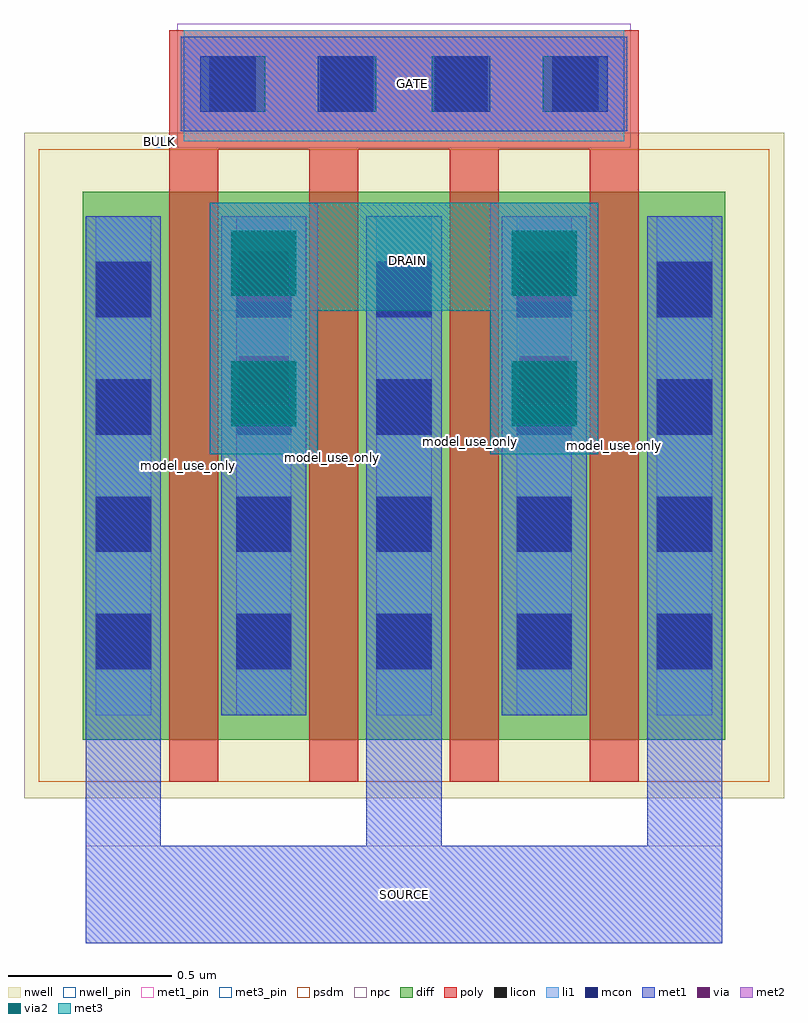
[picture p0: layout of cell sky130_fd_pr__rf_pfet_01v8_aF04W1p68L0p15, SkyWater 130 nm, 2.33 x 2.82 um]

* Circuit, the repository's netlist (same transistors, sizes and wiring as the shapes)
* Copyright 2020 The SkyWater PDK Authors
*
* Licensed under the Apache License, Version 2.0 (the "License");
* you may not use this file except in compliance with the License.
* You may obtain a copy of the License at
*
*     https://www.apache.org/licenses/LICENSE-2.0
*
* Unless required by applicable law or agreed to in writing, software
* distributed under the License is distributed on an "AS IS" BASIS,
* WITHOUT WARRANTIES OR CONDITIONS OF ANY KIND, either express or implied.
* See the License for the specific language governing permissions and
* limitations under the License.
*
* SPDX-License-Identifier: Apache-2.0


.subckt sky130_fd_pr__rf_pfet_01v8_aF04W1p68L0p15 BULK DRAIN GATE SOURCE
X0 SOURCE GATE DRAIN BULK sky130_fd_pr__pfet_01v8 w=1.68e+06u l=150000u
X1 DRAIN GATE SOURCE BULK sky130_fd_pr__pfet_01v8 w=1.68e+06u l=150000u
X2 SOURCE GATE DRAIN BULK sky130_fd_pr__pfet_01v8 w=1.68e+06u l=150000u
X3 DRAIN GATE SOURCE BULK sky130_fd_pr__pfet_01v8 w=1.68e+06u l=150000u
.ends

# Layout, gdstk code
import gdstk
lib = gdstk.Library(unit=1e-6, precision=1e-09)
def R(c, l, rs):  # rectangles x0, y0, x1, y1
    for r in rs: c.add(gdstk.rectangle(r[:2], r[2:], *l))
def A(c, l, x, y, w, h, nx, ny, dx, dy):  # array of equal rectangles
    R(c, l, [(x+i*dx, y+j*dy, x+i*dx+w, y+j*dy+h) for i in range(nx) for j in range(ny)])
nwell_pin = (64, 16)
nwell = (64, 20)
diff = (65, 20)
poly = (66, 20)
licon = (66, 44)
li1 = (67, 20)
mcon = (67, 44)
met1_pin = (68, 16)
met1 = (68, 20)
via = (68, 44)
met2 = (69, 20)
via2 = (69, 44)
met3_pin = (70, 16)
met3 = (70, 20)
psdm = (94, 20)
npc = (95, 20)

sky130_fd_pr__rf_pfet_01 = lib.new_cell('sky130_fd_pr__rf_pfet_01v8_aF04W1p68L0p15')
R(sky130_fd_pr__rf_pfet_01, nwell_pin, [(0.4,1.995,0.43,2.03)])
R(sky130_fd_pr__rf_pfet_01, nwell, [(0,0,2.33,2.04)])
A(sky130_fd_pr__rf_pfet_01, diff, 0.445, 0.18, 0.15, 1.68, 4, 1, 0.43, 0)
R(sky130_fd_pr__rf_pfet_01, diff, [(0.18,0.18,0.445,1.86), (0.21,0.18,0.445,1.86), (0.595,0.18,0.875,1.86), (1.025,0.18,1.305,1.86), (1.025,0.18,1.305,1.86), (1.055,0.18,1.305,1.86), (1.455,0.18,1.735,1.86), (1.885,0.18,2.15,1.86), (1.885,0.18,2.15,1.86), (1.915,0.18,2.15,1.86)])
A(sky130_fd_pr__rf_pfet_01, poly, 0.445, 0.05, 0.15, 0.13, 4, 2, 0.43, 1.81)
A(sky130_fd_pr__rf_pfet_01, poly, 0.445, 0.05, 0.15, 1.94, 4, 1, 0.43, 0)
R(sky130_fd_pr__rf_pfet_01, poly, [(0.445,1.99,1.885,2.355), (0.49,2.015,1.84,2.355)])
A(sky130_fd_pr__rf_pfet_01, licon, 0.22, 0.395, 0.17, 0.17, 5, 4, 0.43, 0.36)
A(sky130_fd_pr__rf_pfet_01, licon, 0.57, 2.105, 0.17, 0.17, 4, 1, 0.34, 0)
A(sky130_fd_pr__rf_pfet_01, li1, 0.22, 0.255, 0.17, 1.53, 5, 1, 0.43, 0)
R(sky130_fd_pr__rf_pfet_01, li1, [(0.49,2.015,1.84,2.355), (0.54,2.105,1.79,2.275)])
A(sky130_fd_pr__rf_pfet_01, mcon, 0.22, 0.395, 0.17, 0.17, 5, 4, 0.43, 0.36)
A(sky130_fd_pr__rf_pfet_01, mcon, 0.54, 2.105, 0.17, 0.17, 4, 1, 0.36, 0)
R(sky130_fd_pr__rf_pfet_01, met1_pin, [(0.19,-0.445,2.14,-0.145), (0.48,2.045,1.85,2.335)])
R(sky130_fd_pr__rf_pfet_01, met1, [(0.48,2.045,1.85,2.335)])
R(sky130_fd_pr__rf_pfet_01, via, [(0.66,1.205,0.81,1.355), (1.52,1.205,1.67,1.355), (0.66,1.525,0.81,1.675), (1.52,1.525,1.67,1.675)])
R(sky130_fd_pr__rf_pfet_01, met2, [(0.57,1.055,0.9,1.825), (1.43,1.055,1.76,1.825), (0.605,1.12,0.865,1.76), (1.465,1.12,1.725,1.76)])
R(sky130_fd_pr__rf_pfet_01, via2, [(0.635,1.14,0.835,1.34), (1.495,1.14,1.695,1.34), (0.635,1.54,0.835,1.74), (1.495,1.54,1.695,1.74)])
R(sky130_fd_pr__rf_pfet_01, met3_pin, [(0.57,1.495,1.76,1.825)])
R(sky130_fd_pr__rf_pfet_01, met3, [(0.57,1.055,0.9,1.825), (1.43,1.055,1.76,1.825)])
A(sky130_fd_pr__rf_pfet_01, psdm, 0.465, 0.05, 0.54, 1.94, 3, 1, 0.43, 0)
A(sky130_fd_pr__rf_pfet_01, psdm, 0.625, 0.05, 0.4, 1.94, 3, 1, 0.43, 0)
R(sky130_fd_pr__rf_pfet_01, psdm, [(0.045,0.05,0.575,1.99), (0.21,0.05,0.595,1.99), (1.755,0.05,2.285,1.99)])
R(sky130_fd_pr__rf_pfet_01, npc, [(0.47,1.995,1.86,2.375)])
sky130_fd_pr__rf_pfet_01.add(gdstk.FlexPath([(0.57,1.66),(1.76,1.66)], 0.33, ends="flush", simple_path=True, layer=70, datatype=20))  # met3
sky130_fd_pr__rf_pfet_01.add(gdstk.FlexPath([(2.025,1.785),(2.025,-0.445)], 0.23, ends="flush", simple_path=True, layer=68, datatype=20))  # met1
sky130_fd_pr__rf_pfet_01.add(gdstk.FlexPath([(1.165,1.785),(1.165,-0.445)], 0.23, ends="flush", simple_path=True, layer=68, datatype=20))  # met1
sky130_fd_pr__rf_pfet_01.add(gdstk.FlexPath([(0.305,1.785),(0.305,-0.445)], 0.23, ends="flush", simple_path=True, layer=68, datatype=20))  # met1
sky130_fd_pr__rf_pfet_01.add(gdstk.FlexPath([(0.19,-0.295),(2.14,-0.295)], 0.3, ends="flush", simple_path=True, layer=68, datatype=20))  # met1
sky130_fd_pr__rf_pfet_01.add(gdstk.FlexPath([(0.735,1.785),(0.735,0.255)], 0.26, ends="flush", simple_path=True, layer=68, datatype=20))  # met1
sky130_fd_pr__rf_pfet_01.add(gdstk.FlexPath([(1.595,1.785),(1.595,0.255)], 0.26, ends="flush", simple_path=True, layer=68, datatype=20))  # met1
sky130_fd_pr__rf_pfet_01.add(gdstk.Label('model_use_only', (0.505,1.02), layer=66, texttype=83))
sky130_fd_pr__rf_pfet_01.add(gdstk.Label('model_use_only', (0.945,1.045), layer=66, texttype=83))
sky130_fd_pr__rf_pfet_01.add(gdstk.Label('model_use_only', (1.37,1.095), layer=66, texttype=83))
sky130_fd_pr__rf_pfet_01.add(gdstk.Label('model_use_only', (1.81,1.08), layer=66, texttype=83))
sky130_fd_pr__rf_pfet_01.add(gdstk.Label('DRAIN', (1.175,1.65), layer=70, texttype=16))
sky130_fd_pr__rf_pfet_01.add(gdstk.Label('GATE', (1.19,2.19), layer=68, texttype=16))
sky130_fd_pr__rf_pfet_01.add(gdstk.Label('SOURCE', (1.165,-0.295), layer=68, texttype=16))
sky130_fd_pr__rf_pfet_01.add(gdstk.Label('BULK', (0.415,2.015), layer=64, texttype=5))

lib.write_gds('sky130_fd_pr__rf_pfet_01v8_aF04W1p68L0p15.gds')
